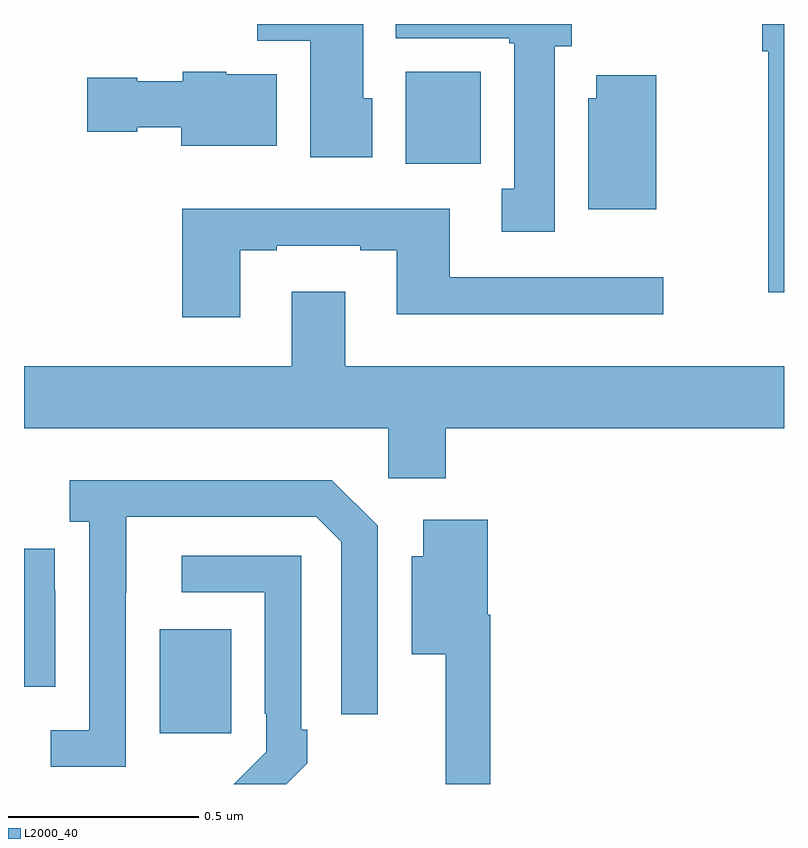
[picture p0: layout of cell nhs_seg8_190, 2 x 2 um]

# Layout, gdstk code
import gdstk
lib = gdstk.Library(unit=1e-6, precision=1e-09)
def R(c, l, rs):  # rectangles x0, y0, x1, y1
    for r in rs: c.add(gdstk.rectangle(r[:2], r[2:], *l))
def P(c, l, *ps):  # polygons
    for p in ps: c.add(gdstk.Polygon(p, *l))
L2000_40 = (2000, 40)

nhs_seg8_190 = lib.new_cell('nhs_seg8_190')
R(nhs_seg8_190, L2000_40, [(113.357,1113.033,113.545,1113.307), (114.005,1114.532,114.202,1114.774)])
P(nhs_seg8_190, L2000_40, [(115,1114.9),(114.943,1114.9),(114.943,1114.828),(114.958,1114.828),(114.958,1114.194),(115,1114.194)],
  [(113.917,1114.704),(113.893,1114.704),(113.893,1114.9),(113.614,1114.9),(113.614,1114.856),(113.753,1114.856),(113.753,1114.55),(113.917,1114.55)],
  [(114.397,1114.842),(114.442,1114.842),(114.442,1114.9),(113.978,1114.9),(113.978,1114.862),(114.277,1114.862),(114.277,1114.849),(114.29,1114.849),(114.29,1114.466),(114.257,1114.466),(114.257,1114.353),(114.397,1114.353)],
  [(113.665,1114.768),(113.532,1114.768),(113.532,1114.774),(113.418,1114.774),(113.418,1114.75),(113.298,1114.75),(113.298,1114.758),(113.166,1114.758),(113.166,1114.616),(113.298,1114.616),(113.298,1114.628),(113.414,1114.628),(113.414,1114.58),(113.665,1114.58)],
  [(114.664,1114.765),(114.506,1114.765),(114.506,1114.704),(114.485,1114.704),(114.485,1114.412),(114.664,1114.412)],
  [(113.569,1114.305),(113.665,1114.305),(113.665,1114.317),(113.885,1114.317),(113.885,1114.305),(113.981,1114.305),(113.981,1114.136),(114.682,1114.136),(114.682,1114.233),(114.121,1114.233),(114.121,1114.414),(113.417,1114.414),(113.417,1114.128),(113.569,1114.128)],
  [(114.11,1113.836),(115,1113.836),(115,1114),(113.845,1114),(113.845,1114.195),(113.705,1114.195),(113.705,1114),(113,1114),(113,1113.836),(113.958,1113.836),(113.958,1113.705),(114.11,1113.705)],
  [(113.268,1113.403),(113.269,1113.403),(113.269,1113.603),(113.769,1113.603),(113.835,1113.537),(113.835,1113.084),(113.931,1113.084),(113.931,1113.579),(113.81,1113.7),(113.121,1113.7),(113.121,1113.59),(113.172,1113.59),(113.172,1113.042),(113.07,1113.042),(113.07,1112.946),(113.268,1112.946)],
  [(114.227,1113.346),(114.221,1113.346),(114.221,1113.595),(114.05,1113.595),(114.05,1113.499),(114.02,1113.499),(114.02,1113.242),(114.11,1113.242),(114.11,1112.9),(114.227,1112.9)],
  [(113.082,1113.41),(113.081,1113.41),(113.081,1113.519),(113,1113.519),(113,1113.156),(113.082,1113.156)],
  [(113.745,1112.955),(113.745,1113.043),(113.73,1113.043),(113.73,1113.501),(113.415,1113.501),(113.415,1113.405),(113.634,1113.405),(113.634,1113.085),(113.637,1113.085),(113.637,1112.985),(113.552,1112.9),(113.69,1112.9)])

lib.write_gds('nhs_seg8_190.gds')
